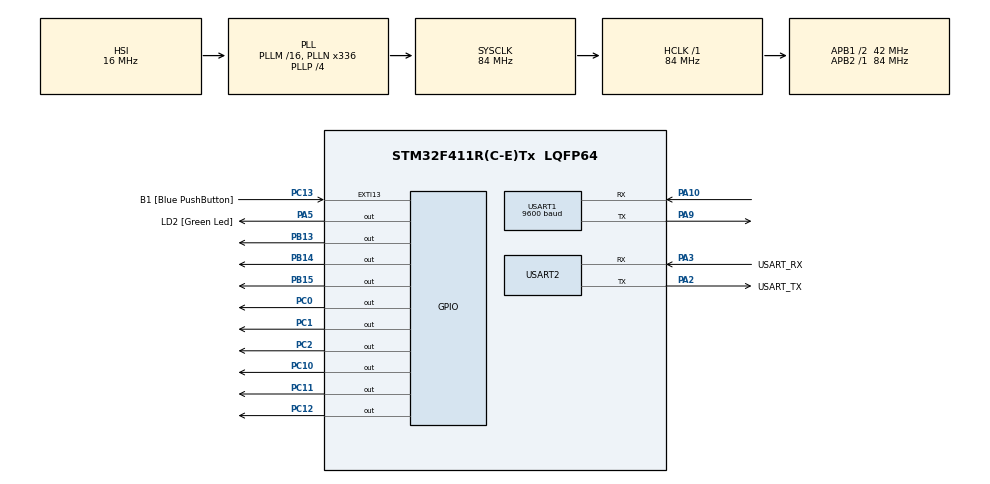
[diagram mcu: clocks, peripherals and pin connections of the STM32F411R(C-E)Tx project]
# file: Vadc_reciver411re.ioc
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Dma.Request0=USART1_RX
Dma.USART1_RX.0.Direction=DMA_PERIPH_TO_MEMORY
Dma.USART1_RX.0.FIFOMode=DMA_FIFOMODE_DISABLE
Dma.USART1_RX.0.Instance=DMA2_Stream2
Dma.USART1_RX.0.MemDataAlignment=DMA_MDATAALIGN_BYTE
Dma.USART1_RX.0.MemInc=DMA_MINC_ENABLE
Dma.USART1_RX.0.Mode=DMA_NORMAL
Dma.USART1_RX.0.PeriphDataAlignment=DMA_PDATAALIGN_BYTE
Dma.USART1_RX.0.PeriphInc=DMA_PINC_DISABLE
Dma.USART1_RX.0.Priority=DMA_PRIORITY_MEDIUM
Mcu.Family=STM32F4
Mcu.Name=STM32F411R(C-E)Tx
Mcu.Package=LQFP64
NVIC.DMA2_Stream2_IRQn=true\:0\:0\:false\:false\:true\:false\:true\:true
NVIC.PriorityGroup=NVIC_PRIORITYGROUP_0
PA10.Mode=Asynchronous
PA10.Signal=USART1_RX
PA13.GPIO_Label=TMS
PA13.Mode=Serial_Wire
PA13.Signal=SYS_JTMS-SWDIO
PA14.GPIO_Label=TCK
PA14.Mode=Serial_Wire
PA14.Signal=SYS_JTCK-SWCLK
PA2.GPIO_Label=USART_TX
PA2.Mode=Asynchronous
PA2.Signal=USART2_TX
PA3.GPIO_Label=USART_RX
PA3.Mode=Asynchronous
PA3.Signal=USART2_RX
PA5.GPIO_Label=LD2 [Green Led]
PA5.Signal=GPIO_Output
PA9.Mode=Asynchronous
PA9.Signal=USART1_TX
PB13.Signal=GPIO_Output
PB14.Signal=GPIO_Output
PB15.Signal=GPIO_Output
PB3.GPIO_Label=SWO
PB3.Signal=SYS_JTDO-SWO
PC0.Signal=GPIO_Output
PC1.Signal=GPIO_Output
PC10.Signal=GPIO_Output
PC11.Signal=GPIO_Output
PC12.Signal=GPIO_Output
PC13-ANTI_TAMP.GPIO_Label=B1 [Blue PushButton]
PC13-ANTI_TAMP.GPIO_ModeDefaultEXTI=GPIO_MODE_IT_FALLING
PC13-ANTI_TAMP.Signal=GPXTI13
PC14-OSC32_IN.Mode=LSE-External-Oscillator
PC14-OSC32_IN.Signal=RCC_OSC32_IN
PC15-OSC32_OUT.Mode=LSE-External-Oscillator
PC15-OSC32_OUT.Signal=RCC_OSC32_OUT
PC2.Signal=GPIO_Output
PH0\ -\ OSC_IN.Mode=HSE-External-Clock-Source
PH0\ -\ OSC_IN.Signal=RCC_OSC_IN
PH1\ -\ OSC_OUT.Mode=HSE-External-Clock-Source
PH1\ -\ OSC_OUT.Signal=RCC_OSC_OUT
ProjectManager.HeapSize=0x200
ProjectManager.StackSize=0x400
ProjectManager.TargetToolchain=STM32CubeIDE
RCC.48MHZClocksFreq_Value=84000000
RCC.AHBFreq_Value=84000000
RCC.APB1CLKDivider=RCC_HCLK_DIV2
RCC.APB1Freq_Value=42000000
RCC.APB1TimFreq_Value=84000000
RCC.APB2Freq_Value=84000000
RCC.APB2TimFreq_Value=84000000
RCC.CortexFreq_Value=84000000
RCC.FLatency-AdvancedSettings=FLASH_LATENCY_2
RCC.HCLKFreq_Value=84000000
RCC.HSE_VALUE=8000000
RCC.HSI_VALUE=16000000
RCC.PLLN=336
RCC.PLLP=RCC_PLLP_DIV4
RCC.SYSCLKFreq_VALUE=84000000
RCC.SYSCLKSource=RCC_SYSCLKSOURCE_PLLCLK
RCC.VCOOutputFreq_Value=336000000
USART1.BaudRate=9600
USART1.VirtualMode=VM_ASYNC
USART2.VirtualMode=VM_ASYNC
board=NUCLEO-F411RE

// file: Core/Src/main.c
/* USER CODE BEGIN Header */
/**
 ******************************************************************************
 * @file           : main.c
 * @brief          : Main program body
 ******************************************************************************
 * @attention
 *
 * Copyright (c) 2023 STMicroelectronics.
 * All rights reserved.
 *
 * This software is licensed under terms that can be found in the LICENSE file
 * in the root directory of this software component.
 * If no LICENSE file comes with this software, it is provided AS-IS.
 *
 ******************************************************************************
 */
/* USER CODE END Header */
#include "main.h"

/* USER CODE BEGIN Includes */
#include "stdio.h"

/* USER CODE END Includes */

/* USER CODE BEGIN PD */
#define RxBuf_SIZE 60
#define Rx_data_size 24
/* USER CODE END PD */

UART_HandleTypeDef huart1;
UART_HandleTypeDef huart2;
DMA_HandleTypeDef hdma_usart1_rx;

/* USER CODE BEGIN PV */
char RxBuffer[RxBuf_SIZE] = { 0 };
char TxBuffer[RxBuf_SIZE] = { 0 };
int counter = 0, Vadc_counter = 0;
char Vadc1[8];
char Vadc2[8];
char Vadc3[8];
char vadc1[6] = "Vadc1:";
char vadc2[6] = "Vadc2:";
char vadc3[6] = "Vadc3:";
char test_value[50] = { "kbdA1.245ZB3.453Zsdfdsfas" };
float Vadc1_float_value = 0;
float Vadc2_float_value = 0;
float Vadc3_float_value = 0;
int cnt = 0;
char Rxcuffer[1];
int Counter_Dma = 0;
/* USER CODE END PV */

void SystemClock_Config(void);
static void MX_GPIO_Init(void);
static void MX_DMA_Init(void);
static void MX_USART2_UART_Init(void);
static void MX_USART1_UART_Init(void);

/* USER CODE BEGIN 0 */
void HAL_UART_RxCpltCallback(UART_HandleTypeDef *huart) {

	if (huart->Instance == USART1) {
		if (Counter_Dma == 0) {
			RxBuffer[cnt++] = Rxcuffer[0];

			if (cnt > 23) {
				Counter_Dma = 1;
				cnt = 0;
				//HAL_UART_Transmit(&huart2, RxBuffer,sizeof(RxBuffer),100);
				//
			}

		}
		HAL_UART_Receive_DMA(&huart1,  Rxcuffer, 1);

	}

}

/* USER CODE END 0 */

int main(void)
{

  /* MCU Configuration--------------------------------------------------------*/

  /* Reset of all peripherals, Initializes the Flash interface and the Systick. */
  HAL_Init();

  /* Configure the system clock */
  SystemClock_Config();

  /* Initialize all configured peripherals */
  MX_GPIO_Init();
  MX_DMA_Init();
  MX_USART2_UART_Init();
  MX_USART1_UART_Init();
  /* USER CODE BEGIN 2 */
  HAL_UART_Receive_DMA(&huart1,  Rxcuffer, 1);
  /* USER CODE END 2 */

  /* Infinite loop */
	while (1) {

    /* USER CODE BEGIN 3 */
		if (Counter_Dma == 1) {
			for (counter; counter < 60; counter++) {
				if (RxBuffer[counter] == 'A') {
					counter++;
					for ( counter; RxBuffer[counter] != 'Z'; counter++) {
						Vadc1[Vadc_counter++] = RxBuffer[counter];
					}
				}

				if (RxBuffer[counter] == 'B') {
					counter++;
					Vadc_counter = 0;
					for (counter; RxBuffer[counter] != 'Z'; counter++) {
						Vadc2[Vadc_counter++] = RxBuffer[counter];
					}

					Vadc_counter = 0;
					//Counter_Dma = 0;
				}
				if (RxBuffer[counter] == 'C') {
					counter++;
					Vadc_counter = 0;
					for (counter; RxBuffer[counter] != 'Z'; counter++) {
						Vadc3[Vadc_counter++] = RxBuffer[counter];
					}
					Vadc_counter = 0;
				}
			}
			sscanf(Vadc1, "%f", &Vadc1_float_value);
			sscanf(Vadc2, "%f", &Vadc2_float_value);
			sscanf(Vadc3, "%f", &Vadc3_float_value);

			if (counter == 60) {
				counter = 0;

			}
			Counter_Dma = 0;

			if (Vadc1_float_value < 0.50) {
				HAL_GPIO_WritePin(GPIOC, GPIO_PIN_10, RESET);
				HAL_GPIO_WritePin(GPIOC, GPIO_PIN_11, RESET);
				HAL_GPIO_WritePin(GPIOC, GPIO_PIN_12, RESET);
			}

			if (Vadc1_float_value > 0.50 && Vadc1_float_value < 2) {
				HAL_GPIO_WritePin(GPIOC, GPIO_PIN_10, SET);
				HAL_GPIO_WritePin(GPIOC, GPIO_PIN_11, RESET);
				HAL_GPIO_WritePin(GPIOC, GPIO_PIN_12, RESET);
			}

			if (Vadc1_float_value > 2 && Vadc1_float_value < 3) {
				HAL_GPIO_WritePin(GPIOC, GPIO_PIN_10, SET);
				HAL_GPIO_WritePin(GPIOC, GPIO_PIN_11, SET);
				HAL_GPIO_WritePin(GPIOC, GPIO_PIN_12, RESET);
			}

			if (Vadc1_float_value > 3) {
				HAL_GPIO_WritePin(GPIOC, GPIO_PIN_10, SET);
				HAL_GPIO_WritePin(GPIOC, GPIO_PIN_11, SET);
				HAL_GPIO_WritePin(GPIOC, GPIO_PIN_12, SET);
			}

			if (Vadc2_float_value < 0.50) {
				HAL_GPIO_WritePin(GPIOC, GPIO_PIN_0, RESET);
				HAL_GPIO_WritePin(GPIOC, GPIO_PIN_1, RESET);
				HAL_GPIO_WritePin(GPIOC, GPIO_PIN_2, RESET);
			}

			if (Vadc2_float_value > 0.50 && Vadc2_float_value < 2) {
				HAL_GPIO_WritePin(GPIOC, GPIO_PIN_0, SET);
				HAL_GPIO_WritePin(GPIOC, GPIO_PIN_1, RESET);
				HAL_GPIO_WritePin(GPIOC, GPIO_PIN_2, RESET);
			}

			if (Vadc2_float_value > 2 && Vadc2_float_value < 3) {
				HAL_GPIO_WritePin(GPIOC, GPIO_PIN_0, SET);
				HAL_GPIO_WritePin(GPIOC, GPIO_PIN_1, SET);
				HAL_GPIO_WritePin(GPIOC, GPIO_PIN_2, RESET);
			}

			if (Vadc2_float_value > 3) {
				HAL_GPIO_WritePin(GPIOC, GPIO_PIN_0, SET);
				HAL_GPIO_WritePin(GPIOC, GPIO_PIN_1, SET);
				HAL_GPIO_WritePin(GPIOC, GPIO_PIN_2, SET);
			}

			if (Vadc3_float_value < 0.50) {
				HAL_GPIO_WritePin(GPIOB, GPIO_PIN_13, RESET);
				HAL_GPIO_WritePin(GPIOB, GPIO_PIN_14, RESET);
				HAL_GPIO_WritePin(GPIOB, GPIO_PIN_15, RESET);
			}

			if (Vadc3_float_value > 0.50 && Vadc3_float_value < 2) {
				HAL_GPIO_WritePin(GPIOB, GPIO_PIN_13, SET);
				HAL_GPIO_WritePin(GPIOB, GPIO_PIN_14, RESET);
				HAL_GPIO_WritePin(GPIOB, GPIO_PIN_15, RESET);
			}

			if (Vadc3_float_value > 2 && Vadc3_float_value < 3) {
				HAL_GPIO_WritePin(GPIOB, GPIO_PIN_13, SET);
				HAL_GPIO_WritePin(GPIOB, GPIO_PIN_14, SET);
				HAL_GPIO_WritePin(GPIOB, GPIO_PIN_15, RESET);
			}

			if (Vadc3_float_value > 3) {
				HAL_GPIO_WritePin(GPIOB, GPIO_PIN_13, SET);
				HAL_GPIO_WritePin(GPIOB, GPIO_PIN_14, SET);
				HAL_GPIO_WritePin(GPIOB, GPIO_PIN_15, SET);
			}

		}

		/*
		 HAL_Delay(500);*/

	}
  /* USER CODE END 3 */
}

void SystemClock_Config(void)
{
  RCC_OscInitTypeDef RCC_OscInitStruct = {0};
  RCC_ClkInitTypeDef RCC_ClkInitStruct = {0};

  /** Configure the main internal regulator output voltage
  */
  __HAL_RCC_PWR_CLK_ENABLE();
  __HAL_PWR_VOLTAGESCALING_CONFIG(PWR_REGULATOR_VOLTAGE_SCALE1);

  /** Initializes the RCC Oscillators according to the specified parameters
  * in the RCC_OscInitTypeDef structure.
  */
  RCC_OscInitStruct.OscillatorType = RCC_OSCILLATORTYPE_HSI;
  RCC_OscInitStruct.HSIState = RCC_HSI_ON;
  RCC_OscInitStruct.HSICalibrationValue = RCC_HSICALIBRATION_DEFAULT;
  RCC_OscInitStruct.PLL.PLLState = RCC_PLL_ON;
  RCC_OscInitStruct.PLL.PLLSource = RCC_PLLSOURCE_HSI;
  RCC_OscInitStruct.PLL.PLLM = 16;
  RCC_OscInitStruct.PLL.PLLN = 336;
  RCC_OscInitStruct.PLL.PLLP = RCC_PLLP_DIV4;
  RCC_OscInitStruct.PLL.PLLQ = 4;
  if (HAL_RCC_OscConfig(&RCC_OscInitStruct) != HAL_OK)
  {
    Error_Handler();
  }

  /** Initializes the CPU, AHB and APB buses clocks
  */
  RCC_ClkInitStruct.ClockType = RCC_CLOCKTYPE_HCLK|RCC_CLOCKTYPE_SYSCLK
                              |RCC_CLOCKTYPE_PCLK1|RCC_CLOCKTYPE_PCLK2;
  RCC_ClkInitStruct.SYSCLKSource = RCC_SYSCLKSOURCE_PLLCLK;
  RCC_ClkInitStruct.AHBCLKDivider = RCC_SYSCLK_DIV1;
  RCC_ClkInitStruct.APB1CLKDivider = RCC_HCLK_DIV2;
  RCC_ClkInitStruct.APB2CLKDivider = RCC_HCLK_DIV1;

  if (HAL_RCC_ClockConfig(&RCC_ClkInitStruct, FLASH_LATENCY_2) != HAL_OK)
  {
    Error_Handler();
  }
}

static void MX_USART1_UART_Init(void)
{

  huart1.Instance = USART1;
  huart1.Init.BaudRate = 9600;
  huart1.Init.WordLength = UART_WORDLENGTH_8B;
  huart1.Init.StopBits = UART_STOPBITS_1;
  huart1.Init.Parity = UART_PARITY_NONE;
  huart1.Init.Mode = UART_MODE_TX_RX;
  huart1.Init.HwFlowCtl = UART_HWCONTROL_NONE;
  huart1.Init.OverSampling = UART_OVERSAMPLING_16;
  if (HAL_UART_Init(&huart1) != HAL_OK)
  {
    Error_Handler();
  }

}

static void MX_USART2_UART_Init(void)
{

  huart2.Instance = USART2;
  huart2.Init.BaudRate = 115200;
  huart2.Init.WordLength = UART_WORDLENGTH_8B;
  huart2.Init.StopBits = UART_STOPBITS_1;
  huart2.Init.Parity = UART_PARITY_NONE;
  huart2.Init.Mode = UART_MODE_TX_RX;
  huart2.Init.HwFlowCtl = UART_HWCONTROL_NONE;
  huart2.Init.OverSampling = UART_OVERSAMPLING_16;
  if (HAL_UART_Init(&huart2) != HAL_OK)
  {
    Error_Handler();
  }

}

static void MX_DMA_Init(void)
{

  /* DMA controller clock enable */
  __HAL_RCC_DMA2_CLK_ENABLE();

  /* DMA interrupt init */
  /* DMA2_Stream2_IRQn interrupt configuration */
  HAL_NVIC_SetPriority(DMA2_Stream2_IRQn, 0, 0);
  HAL_NVIC_EnableIRQ(DMA2_Stream2_IRQn);

}

static void MX_GPIO_Init(void)
{
  GPIO_InitTypeDef GPIO_InitStruct = {0};

  /* GPIO Ports Clock Enable */
  __HAL_RCC_GPIOC_CLK_ENABLE();
  __HAL_RCC_GPIOH_CLK_ENABLE();
  __HAL_RCC_GPIOA_CLK_ENABLE();
  __HAL_RCC_GPIOB_CLK_ENABLE();

  /*Configure GPIO pin Output Level */
  HAL_GPIO_WritePin(GPIOC, GPIO_PIN_0|GPIO_PIN_1|GPIO_PIN_2|GPIO_PIN_10
                          |GPIO_PIN_11|GPIO_PIN_12, GPIO_PIN_RESET);

  /*Configure GPIO pin Output Level */
  HAL_GPIO_WritePin(LD2_GPIO_Port, LD2_Pin, GPIO_PIN_RESET);

  /*Configure GPIO pin Output Level */
  HAL_GPIO_WritePin(GPIOB, GPIO_PIN_13|GPIO_PIN_14|GPIO_PIN_15, GPIO_PIN_RESET);

  /*Configure GPIO pin : B1_Pin */
  GPIO_InitStruct.Pin = B1_Pin;
  GPIO_InitStruct.Mode = GPIO_MODE_IT_FALLING;
  GPIO_InitStruct.Pull = GPIO_NOPULL;
  HAL_GPIO_Init(B1_GPIO_Port, &GPIO_InitStruct);

  /*Configure GPIO pins : PC0 PC1 PC2 PC10
                           PC11 PC12 */
  GPIO_InitStruct.Pin = GPIO_PIN_0|GPIO_PIN_1|GPIO_PIN_2|GPIO_PIN_10
                          |GPIO_PIN_11|GPIO_PIN_12;
  GPIO_InitStruct.Mode = GPIO_MODE_OUTPUT_PP;
  GPIO_InitStruct.Pull = GPIO_NOPULL;
  GPIO_InitStruct.Speed = GPIO_SPEED_FREQ_LOW;
  HAL_GPIO_Init(GPIOC, &GPIO_InitStruct);

  /*Configure GPIO pin : LD2_Pin */
  GPIO_InitStruct.Pin = LD2_Pin;
  GPIO_InitStruct.Mode = GPIO_MODE_OUTPUT_PP;
  GPIO_InitStruct.Pull = GPIO_NOPULL;
  GPIO_InitStruct.Speed = GPIO_SPEED_FREQ_LOW;
  HAL_GPIO_Init(LD2_GPIO_Port, &GPIO_InitStruct);

  /*Configure GPIO pins : PB13 PB14 PB15 */
  GPIO_InitStruct.Pin = GPIO_PIN_13|GPIO_PIN_14|GPIO_PIN_15;
  GPIO_InitStruct.Mode = GPIO_MODE_OUTPUT_PP;
  GPIO_InitStruct.Pull = GPIO_NOPULL;
  GPIO_InitStruct.Speed = GPIO_SPEED_FREQ_LOW;
  HAL_GPIO_Init(GPIOB, &GPIO_InitStruct);

}

void Error_Handler(void)
{
	__disable_irq();
	while (1) {
	}
}
